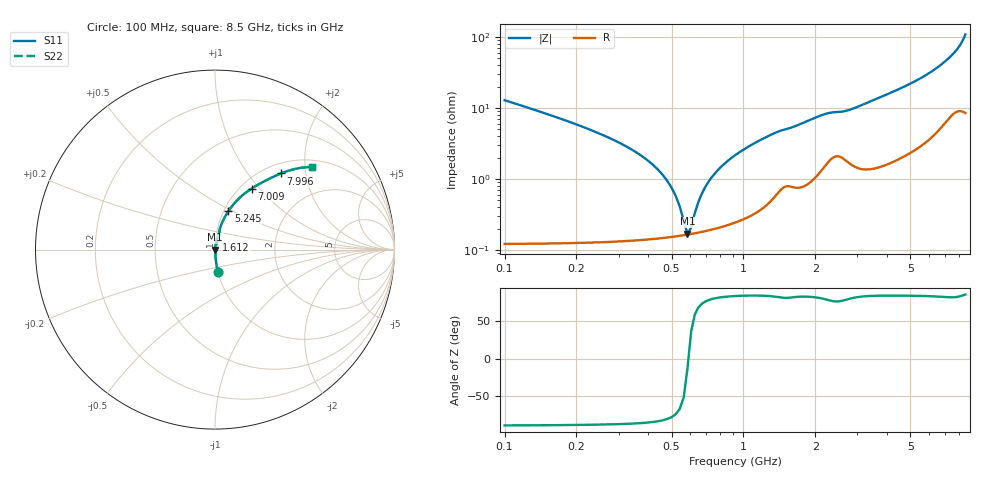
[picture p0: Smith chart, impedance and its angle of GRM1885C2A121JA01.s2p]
!Murata Part Number: GRM1885C2A121JA01
!These Parameters are Measured in Series Mode Connection
!Data Generated on Mar 30, 2021
!  o--ll--o
!Port1  Port2
!  o------o
!Operation Temp=25[degC], DC Bias Voltage=0[V]
!Freq. Start=100[MHz] Stop=9[GHz] 401[Steps]
# Hz S RI R 50
!Freq.(Hz) S11(Real) S11(Imag) S21(Real) S21(Imag) S12(Real) S12(Imag) S22(Real) S22(Imag)
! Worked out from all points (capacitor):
!   401 points, 100 MHz to 8.5 GHz, reference 50 ohm
!   read as one part in series: C = 120 pF near 142 MHz
!   lowest |Z| = 169 mohm at 583 MHz (marker M1)
!   series resonance near 588.1 MHz, so ESL is about 610 pH
!   S11 on the Smith chart (normalised r, x): 100 MHz: 1.00, -0.26; 1.612 GHz: 1.02, +0.11; 5.245 GHz: 1.05, +0.48; 7.009 GHz: 1.12, +0.91; 7.996 GHz: 1.18, +1.46; 8.5 GHz: 1.17, +2.17
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1e8  0.0175 -0.1264  0.9825 0.1264  0.9825 0.1264  0.0175 -0.1264
4.36e8  0.00163 -0.0137  0.9984 0.0137  0.9984 0.0137  0.00163 -0.0137
4.99e8  0.00157 -0.00745  0.9984 0.00745  0.9984 0.00745  0.00157 -0.00745
5.62e8  0.00161 -0.00205  0.9984 0.00205  0.9984 0.00205  0.00161 -0.00205
5.83e8  0.00164 -0.000388  0.9984 0.000388  0.9984 0.000388  0.00164 -0.000388
6.04e8  0.00167 0.00122  0.9983 -0.00122  0.9983 -0.00122  0.00167 0.00122
6.25e8  0.00171 0.00277  0.9983 -0.00277  0.9983 -0.00277  0.00171 0.00277
6.67e8  0.00182 0.00574  0.9982 -0.00574  0.9982 -0.00574  0.00182 0.00574
7.3e8  0.00201 0.00991  0.998 -0.00991  0.998 -0.00991  0.00201 0.00991
8.56e8  0.00252 0.0176  0.9975 -0.0176  0.9975 -0.0176  0.00252 0.0176
1.129e9  0.00436 0.0324  0.9956 -0.0324  0.9956 -0.0324  0.00436 0.0324
1.507e9  0.0102 0.0488  0.9898 -0.0488  0.9898 -0.0488  0.0102 0.0488
1.612e9  0.0104 0.0525  0.9896 -0.0525  0.9896 -0.0525  0.0104 0.0525
2.179e9  0.0206 0.0775  0.9794 -0.0775  0.9794 -0.0775  0.0206 0.0775
2.914e9  0.024 0.0949  0.976 -0.0949  0.976 -0.0949  0.024 0.0949
4.3e9  0.0451 0.1622  0.9549 -0.1622  0.9549 -0.1622  0.0451 0.1622
5.245e9  0.0751 0.2151  0.9249 -0.2151  0.9249 -0.2151  0.0751 0.2151
5.707e9  0.0967 0.2447  0.9033 -0.2447  0.9033 -0.2447  0.0967 0.2447
7.009e9  0.2042 0.3403  0.7958 -0.3403  0.7958 -0.3403  0.2042 0.3403
7.114e9  0.2171 0.3484  0.7829 -0.3484  0.7829 -0.3484  0.2171 0.3484
7.996e9  0.3671 0.4241  0.6329 -0.4241  0.6329 -0.4241  0.3671 0.4241
8.5e9  0.5398 0.4609  0.4602 -0.4609  0.4602 -0.4609  0.5398 0.4609
